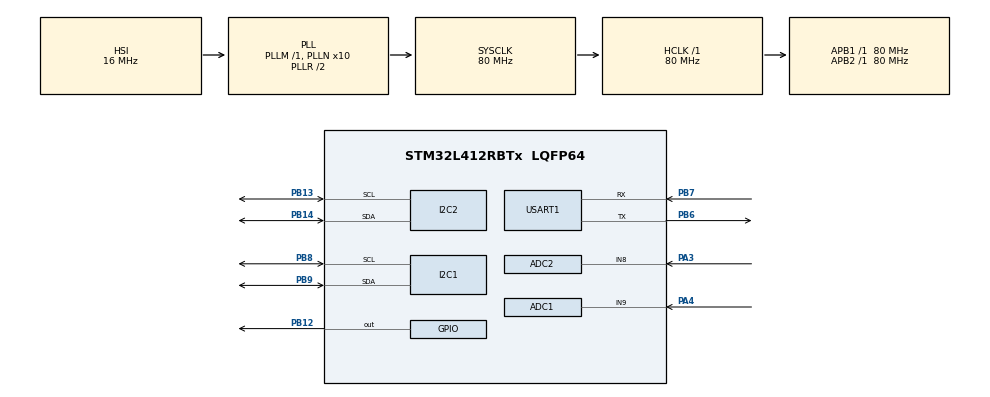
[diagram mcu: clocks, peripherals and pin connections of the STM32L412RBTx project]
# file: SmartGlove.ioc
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ADC1.Channel-1\#ChannelRegularConversion=ADC_CHANNEL_9
ADC1.ContinuousConvMode=ENABLE
ADC1.NbrOfConversionFlag=1
ADC1.OffsetNumber-1\#ChannelRegularConversion=ADC_OFFSET_NONE
ADC1.Overrun=ADC_OVR_DATA_OVERWRITTEN
ADC1.Rank-1\#ChannelRegularConversion=1
ADC1.SamplingTime-1\#ChannelRegularConversion=ADC_SAMPLETIME_2CYCLES_5
ADC1.master=1
ADC2.Channel-0\#ChannelRegularConversion=ADC_CHANNEL_8
ADC2.ContinuousConvMode=ENABLE
ADC2.NbrOfConversionFlag=1
ADC2.OffsetNumber-0\#ChannelRegularConversion=ADC_OFFSET_NONE
ADC2.Overrun=ADC_OVR_DATA_OVERWRITTEN
ADC2.Rank-0\#ChannelRegularConversion=1
ADC2.SamplingTime-0\#ChannelRegularConversion=ADC_SAMPLETIME_6CYCLES_5
Dma.I2C1_RX.0.Direction=DMA_PERIPH_TO_MEMORY
Dma.I2C1_RX.0.Instance=DMA1_Channel7
Dma.I2C1_RX.0.MemDataAlignment=DMA_MDATAALIGN_BYTE
Dma.I2C1_RX.0.MemInc=DMA_MINC_ENABLE
Dma.I2C1_RX.0.Mode=DMA_NORMAL
Dma.I2C1_RX.0.PeriphDataAlignment=DMA_PDATAALIGN_BYTE
Dma.I2C1_RX.0.PeriphInc=DMA_PINC_DISABLE
Dma.I2C1_RX.0.Priority=DMA_PRIORITY_LOW
Dma.I2C1_TX.1.Direction=DMA_MEMORY_TO_PERIPH
Dma.I2C1_TX.1.Instance=DMA1_Channel6
Dma.I2C1_TX.1.MemDataAlignment=DMA_MDATAALIGN_BYTE
Dma.I2C1_TX.1.MemInc=DMA_MINC_ENABLE
Dma.I2C1_TX.1.Mode=DMA_NORMAL
Dma.I2C1_TX.1.PeriphDataAlignment=DMA_PDATAALIGN_BYTE
Dma.I2C1_TX.1.PeriphInc=DMA_PINC_DISABLE
Dma.I2C1_TX.1.Priority=DMA_PRIORITY_LOW
Dma.Request0=I2C1_RX
Dma.Request1=I2C1_TX
I2C1.Timing=0x10909CEC
I2C2.Timing=0x10909CEC
Mcu.Family=STM32L4
Mcu.Name=STM32L412RBTx
Mcu.Package=LQFP64
NVIC.DMA1_Channel6_IRQn=true\:0\:0\:false\:false\:true\:false\:true\:true
NVIC.DMA1_Channel7_IRQn=true\:0\:0\:false\:false\:true\:false\:true\:true
NVIC.PriorityGroup=NVIC_PRIORITYGROUP_4
PA3.Signal=ADCx_IN8
PA4.Signal=ADCx_IN9
PB12.Signal=GPIO_Output
PB13.GPIO_Pu=GPIO_PULLUP
PB13.Mode=I2C
PB13.Signal=I2C2_SCL
PB14.GPIO_Pu=GPIO_PULLUP
PB14.Mode=I2C
PB14.Signal=I2C2_SDA
PB6.Mode=Asynchronous
PB6.Signal=USART1_TX
PB7.Mode=Asynchronous
PB7.Signal=USART1_RX
PB8.Mode=I2C
PB8.Signal=I2C1_SCL
PB9.Mode=I2C
PB9.Signal=I2C1_SDA
ProjectManager.HeapSize=0x200
ProjectManager.StackSize=0x400
ProjectManager.TargetToolchain=MDK-ARM V5.32
RCC.ADCFreq_Value=80000000
RCC.AHBFreq_Value=80000000
RCC.APB1Freq_Value=80000000
RCC.APB1TimFreq_Value=80000000
RCC.APB2Freq_Value=80000000
RCC.APB2TimFreq_Value=80000000
RCC.CortexFreq_Value=80000000
RCC.HCLKFreq_Value=80000000
RCC.HSE_VALUE=8000000
RCC.HSI48_VALUE=48000000
RCC.HSI_VALUE=16000000
RCC.LSE_VALUE=32768
RCC.MSI_VALUE=4000000
RCC.PLLN=10
RCC.PLLSourceVirtual=RCC_PLLSOURCE_HSI
RCC.SYSCLKFreq_VALUE=80000000
RCC.SYSCLKSource=RCC_SYSCLKSOURCE_PLLCLK
RCC.USBFreq_Value=4000000
RCC.VCOOutputFreq_Value=160000000
SH.ADCx_IN8.0=ADC2_IN8,IN8-Single-Ended
SH.ADCx_IN9.0=ADC1_IN9,IN9-Single-Ended
USART1.VirtualMode-Asynchronous=VM_ASYNC
board=custom

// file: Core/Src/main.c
/* USER CODE BEGIN Header */
/**
  ******************************************************************************
  * @file           : main.c
  * @brief          : Main program body
  ******************************************************************************
  * @attention
  *
  * Copyright (c) 2023 STMicroelectronics.
  * All rights reserved.
  *
  * This software is licensed under terms that can be found in the LICENSE file
  * in the root directoLy of this software component.
  * If no LICENSE file comes with this software, it is provided AS-IS.
	*
  * VL6180.h .c by Ryan Chau
	* bno055.h .c by Christine Wan
	* State machine implementation of gesture control by Eric Hsieh
	* Last updated on June 5th 2023
  ******************************************************************************
  */
/* USER CODE END Header */
#include "main.h"
#include "adc.h"
#include "dma.h"
#include "i2c.h"
#include "usart.h"
#include "gpio.h"

/* USER CODE BEGIN Includes */
#include "bno055.h"
#include "string.h"
#include "queue.h"
#include "VL6180X.h"
#include <stdlib.h>

/* printf function */
#include <stdio.h>
//#ifdef __GNUC__
//#define PUTCHAR_PROTOTYPE int __io_putchar(int ch)
//#else
#define PUTCHAR_PROTOTYPE int fputc(int ch, FILE *f)
//#endif

PUTCHAR_PROTOTYPE
{
  HAL_UART_Transmit(&huart1, (uint8_t *)&ch, 1, HAL_MAX_DELAY);
  return ch;
}
/*end of printf function*/
/* USER CODE END Includes */

/* USER CODE BEGIN PD */
// Create an instance of the bno055_dev structure for each IMU
bno055_t imu1;
bno055_t imu2;
error_bno IMU1PASS = BNO_ERR_I2C;
error_bno IMU2PASS = BNO_ERR_I2C;
int VL6180X_ERR = 0;
//f32 volatile gyro1_x, gyro1_y, gyro1_z;
//f32 volatile gyro2_x, gyro2_y, gyro2_z;
f32 euler1_x, euler1_y, euler1_z;
f32 volatile init_euler1_x, init_euler1_y, init_euler1_z;
f32 volatile euler2_x, euler2_y, euler2_z;
f32 volatile init_euler2_x, init_euler2_y, init_euler2_z;
f32 volatile test_x, test_y, test_z;

//f32 volatile a1_x, a1_y, a1_z;
f32 volatile a2_x, a2_y, a2_z;
f32 volatile absx = 0;
f32 volatile absy = 0;
f32 volatile absz = 0;
f32 volatile change_x = 0;
f32 volatile change_y = 0;
f32 volatile change_z = 0;
f32 volatile accleration_mag_buffer = 0; //stoLe the total acceleration

uint16_t volatile readFSR1;
uint16_t volatile readFSR2;

f32 max_change = 0;
int rotate_xyz = 0; // x == 1, y == 2, z == 3

/* FSR related */
#define FSR_threshold 0x0A00
uint8_t FSR1_pressed = 0;
uint8_t FSR2_pressed = 0;
/* STATES */
#define IDLE 0x00
#define WAIT_ZOOM_IN 0x01
#define WAIT_ZOOM_OUT 0x02
// #define WAIT_SHIFT 0x03
#define WAIT_ROTATE 0x04
#define ZOOM_IN_2 0x05
#define ZOOM_IN_4 0x06
#define ZOOM_OUT_2 0x07
#define ZOOM_OUT_4 0x08
#define WAIT_SHIFT_L 0x09
#define WAIT_SHIFT_R 0x0a
#define WAIT_SHIFT_U 0x0b
#define WAIT_SHIFT_D 0x0c
#define WAIT_SHIFT_F 0x0d
#define WAIT_SHIFT_B 0x0e
#define WAIT_SHIFT_L_DONE 0x0f
#define WAIT_SHIFT_R_DONE 0x10
#define WAIT_SHIFT_U_DONE 0x11
#define WAIT_SHIFT_D_DONE 0x12
#define WAIT_SHIFT_F_DONE 0x13
#define WAIT_SHIFT_B_DONE 0x14
#define ROTATE_X 0x2d
#define ROTATE_Y 0x2e
#define ROTATE_Z 0x2f
/* gesture command */
#define CMD_LEFT 0x00
#define CMD_RIGHT 0x01
#define CMD_UP 0x02
#define CMD_DOWN 0x03
#define CMD_FRONT 0x04
#define CMD_BACK 0x05
#define CMD_ROTATE_X 0x06
#define CMD_ROTATE_Y 0x07
#define CMD_ROTATE_Z 0x08
#define CMD_ZOOM 0x09
#define CMD_RESET 0x0a
#define CMD_NONE 0xff
/* gesture data */
#define DATA_SHIFT_SPEED_1 0x01
#define DATA_SHIFT_SPEED_2 0x02
#define DATA_SHIFT_SPEED_3 0x03
#define DATA_ZOOM_IN_2 0x02
#define DATA_ZOOM_IN_4 0x03
#define DATA_ZOOM_OUT_2 0x05
#define DATA_ZOOM_OUT_4 0x06
#define DATA_NO_ZOOM_IN_OUT 0x04
#define DATA_RESET 0x00
#define DATA_NONE 0xff
/* FSR behavior */
#define ROTATE_MODE (FSR1_pressed == 1 && FSR2_pressed == 1)
#define ZOOM_MODE (FSR1_pressed == 0 && FSR2_pressed == 1)
#define SHIFT_MODE (FSR1_pressed == 1 && FSR2_pressed == 0)
/* Shift speed threshold */
#define TH_SPEED_BASE 1
// #define TH_SPEED_1 10
#define TH_SPEED_2 10
#define TH_SPEED_3 15
#define DELAY_IN_DONE 1
#define SHIFT_STABILIZED ((absx<TH_SPEED_BASE)&(absy<TH_SPEED_BASE)&(absz<TH_SPEED_BASE))
// toleranace are in degrees
#define TH_GESTURE_START_TOL 25
#define TH_GESTURE_START_TOL_UD 50
#define TH_GESTURE_START_TOL_L 35
#define TH_GESTURE_START_TOL_L_Y 90
#define TH_GESTURE_START_TOL_R 35
#define TH_GESTURE_START_TOL_R_Y 90
#define TH_GESTURE_START_TOL_R_Z 55
#define TH_GESTURE_START_TOL_FB_Y 50
#define TH_GESTURE_START_TOL_FB_Z 85

#define TH_GESTURE_END_TOL 25
#define TH_GESTURE_END_TOL_UD 90
#define TH_GESTURE_END_TOL_L 35
#define TH_GESTURE_END_TOL_L_Y 90
#define TH_GESTURE_END_TOL_R 35
#define TH_GESTURE_END_TOL_R_Y 90
#define TH_GESTURE_END_TOL_R_Z 55
#define TH_GESTURE_END_TOL_FB_Y 50
#define TH_GESTURE_END_TOL_FB_Z 85

/* Shift gesture definition*/ // should all be a very clean number, in 90 degrees
#define L_1X 0
#define L_1Y -90
#define L_1Z 270
#define L_2X 0
#define L_2Y 90
#define L_2Z 270
#define R_1X 0
#define R_1Y -90
#define R_1Z 90
#define R_2X 0
#define R_2Y 90
#define R_2Z 90
#define U_1X 90
#define U_1Y 0
#define U_1Z 0
#define U_2X -90
#define U_2Y 0
#define U_2Z 0
#define D_1X -90
#define D_1Y 0
#define D_1Z 0
#define D_2X 90
#define D_2Y 0
#define D_2Z 0
#define F_1X 0
#define F_1Y -90
#define F_1Z 0
#define F_2X 0
#define F_2Y 90
#define F_2Z 0
#define B_1X 0
#define B_1Y -90
#define B_1Z 0
#define B_2X 0
#define B_2Y 90
#define B_2Z 270
#define GESTURE_L_STARTING ((L_1X-TH_GESTURE_START_TOL_L<euler1_x)&(euler1_x<L_1X+TH_GESTURE_START_TOL_L)&(L_1Y-TH_GESTURE_START_TOL_L_Y<euler1_y)&(euler1_y<L_1Y+TH_GESTURE_START_TOL_L_Y)&(L_1Z-TH_GESTURE_START_TOL_L<euler1_z)&(euler1_z<L_1Z+TH_GESTURE_START_TOL_L)&(L_2X-TH_GESTURE_START_TOL_L<euler2_x)&(euler2_x<L_2X+TH_GESTURE_START_TOL_L)&(L_2Y-TH_GESTURE_START_TOL_L_Y<euler2_y)&(euler2_y<L_2Y+TH_GESTURE_START_TOL_L_Y)&(L_2Z-TH_GESTURE_START_TOL_L<euler2_z)&(euler2_z<L_2Z+TH_GESTURE_START_TOL_L))
#define GESTURE_R_STARTING ((R_1X-TH_GESTURE_START_TOL_R<euler1_x)&(euler1_x<R_1X+TH_GESTURE_START_TOL_R)&(R_1Y-TH_GESTURE_START_TOL_R_Y<euler1_y)&(euler1_y<R_1Y+TH_GESTURE_START_TOL_R_Y)&(R_1Z-TH_GESTURE_START_TOL_R_Z<euler1_z)&(euler1_z<R_1Z+TH_GESTURE_START_TOL_R_Z)&(R_2X-TH_GESTURE_START_TOL_R<euler2_x)&(euler2_x<R_2X+TH_GESTURE_START_TOL_R)&(R_2Y-TH_GESTURE_START_TOL_R_Y<euler2_y)&(euler2_y<R_2Y+TH_GESTURE_START_TOL_R_Y)&(R_2Z-TH_GESTURE_START_TOL_R_Z<euler2_z)&(euler2_z<R_2Z+TH_GESTURE_START_TOL_R_Z))
#define GESTURE_U_STARTING ((U_1X-TH_GESTURE_START_TOL_UD<euler1_x)&(euler1_x<U_1X+TH_GESTURE_START_TOL_UD)&(U_2X-TH_GESTURE_START_TOL_UD<euler2_x)&(euler2_x<U_2X+TH_GESTURE_START_TOL_UD))
#define GESTURE_D_STARTING ((D_1X-TH_GESTURE_START_TOL_UD<euler1_x)&(euler1_x<D_1X+TH_GESTURE_START_TOL_UD)&(D_2X-TH_GESTURE_START_TOL_UD<euler2_x)&(euler2_x<D_2X+TH_GESTURE_START_TOL_UD))
#define GESTURE_F_STARTING ((F_1X-TH_GESTURE_START_TOL<euler1_x)&(euler1_x<F_1X+TH_GESTURE_START_TOL)&(F_1Y-TH_GESTURE_START_TOL<euler1_y)&(euler1_y<F_1Y+TH_GESTURE_START_TOL)&((euler1_z < TH_GESTURE_START_TOL)||(euler1_z > 360-TH_GESTURE_START_TOL))&(F_2X-TH_GESTURE_START_TOL<euler2_x)&(euler2_x<F_2X+TH_GESTURE_START_TOL)&(F_2Y-TH_GESTURE_START_TOL<euler2_y)&(euler2_y<F_2Y+TH_GESTURE_START_TOL)&((euler2_z < TH_GESTURE_START_TOL)||(euler2_z > 360-TH_GESTURE_START_TOL)))
#define GESTURE_B_STARTING ((B_1X-TH_GESTURE_START_TOL<euler1_x)&(euler1_x<B_1X+TH_GESTURE_START_TOL)&(B_1Y-TH_GESTURE_START_TOL<euler1_y)&(euler1_y<B_1Y+TH_GESTURE_START_TOL)&((euler1_z < TH_GESTURE_START_TOL)||(euler1_z > 360-TH_GESTURE_START_TOL))&(B_2X-TH_GESTURE_START_TOL<euler2_x)&(euler2_x<B_2X+TH_GESTURE_START_TOL)&(B_2Y-TH_GESTURE_START_TOL_FB_Y<euler2_y)&(euler2_y<B_2Y+TH_GESTURE_START_TOL_FB_Y)&(B_2Z-TH_GESTURE_START_TOL_FB_Z<euler2_z)&(euler2_z<B_2Z+TH_GESTURE_START_TOL))

#define GESTURE_L_ENDING ((L_1X-TH_GESTURE_END_TOL_L<euler1_x)&(euler1_x<L_1X+TH_GESTURE_END_TOL_L)&(L_1Y-TH_GESTURE_END_TOL_L_Y<euler1_y)&(euler1_y<L_1Y+TH_GESTURE_END_TOL_L_Y)&(L_1Z-TH_GESTURE_END_TOL_L<euler1_z)&(euler1_z<L_1Z+TH_GESTURE_END_TOL_L)&(L_2X-TH_GESTURE_END_TOL_L<euler2_x)&(euler2_x<L_2X+TH_GESTURE_END_TOL_L)&(L_2Y-TH_GESTURE_END_TOL_L_Y<euler2_y)&(euler2_y<L_2Y+TH_GESTURE_END_TOL_L_Y)&(L_2Z-TH_GESTURE_END_TOL_L<euler2_z)&(euler2_z<L_2Z+TH_GESTURE_END_TOL_L))
#define GESTURE_R_ENDING ((R_1X-TH_GESTURE_END_TOL_R<euler1_x)&(euler1_x<R_1X+TH_GESTURE_END_TOL_R)&(R_1Y-TH_GESTURE_END_TOL_R_Y<euler1_y)&(euler1_y<R_1Y+TH_GESTURE_END_TOL_R_Y)&(R_1Z-TH_GESTURE_END_TOL_R_Z<euler1_z)&(euler1_z<R_1Z+TH_GESTURE_END_TOL_R_Z)&(R_2X-TH_GESTURE_END_TOL_R<euler2_x)&(euler2_x<R_2X+TH_GESTURE_END_TOL_R)&(R_2Y-TH_GESTURE_END_TOL_R_Y<euler2_y)&(euler2_y<R_2Y+TH_GESTURE_END_TOL_R_Y)&(R_2Z-TH_GESTURE_END_TOL_R_Z<euler2_z)&(euler2_z<R_2Z+TH_GESTURE_END_TOL_R_Z))
#define GESTURE_U_ENDING ((U_1X-TH_GESTURE_END_TOL_UD<euler1_x)&(euler1_x<U_1X+TH_GESTURE_END_TOL_UD)&(U_2X-TH_GESTURE_END_TOL_UD<euler2_x)&(euler2_x<U_2X+TH_GESTURE_END_TOL_UD))
#define GESTURE_D_ENDING ((D_1X-TH_GESTURE_END_TOL_UD<euler1_x)&(euler1_x<D_1X+TH_GESTURE_END_TOL_UD)&(D_2X-TH_GESTURE_END_TOL_UD<euler2_x)&(euler2_x<D_2X+TH_GESTURE_END_TOL_UD))
#define GESTURE_F_ENDING ((F_1X-TH_GESTURE_END_TOL<euler1_x)&(euler1_x<F_1X+TH_GESTURE_END_TOL)&(F_1Y-TH_GESTURE_END_TOL<euler1_y)&(euler1_y<F_1Y+TH_GESTURE_END_TOL)&((euler1_z < TH_GESTURE_END_TOL)||(euler1_z > 360-TH_GESTURE_END_TOL))&(F_2X-TH_GESTURE_END_TOL<euler2_x)&(euler2_x<F_2X+TH_GESTURE_END_TOL)&(F_2Y-TH_GESTURE_END_TOL<euler2_y)&(euler2_y<F_2Y+TH_GESTURE_END_TOL)&((euler2_z < TH_GESTURE_END_TOL)||(euler2_z > 360-TH_GESTURE_END_TOL)))
#define GESTURE_B_ENDING ((B_1X-TH_GESTURE_END_TOL<euler1_x)&(euler1_x<B_1X+TH_GESTURE_END_TOL)&(B_1Y-TH_GESTURE_END_TOL<euler1_y)&(euler1_y<B_1Y+TH_GESTURE_END_TOL)&((euler1_z < TH_GESTURE_END_TOL)||(euler1_z > 360-TH_GESTURE_END_TOL))&(B_2X-TH_GESTURE_END_TOL<euler2_x)&(euler2_x<B_2X+TH_GESTURE_END_TOL)&(B_2Y-TH_GESTURE_END_TOL_FB_Y<euler2_y)&(euler2_y<B_2Y+TH_GESTURE_END_TOL_FB_Y)&(B_2Z-TH_GESTURE_END_TOL_FB_Z<euler2_z)&(euler2_z<B_2Z+TH_GESTURE_END_TOL))

/* Rotate calibration */
#define X_SIGN_CALIBRATE 1
#define Y_SIGN_CALIBRATE 1
#define Z_SIGN_CALIBRATE -1
/* prevent BT overflow */
#define DELAY_AFTER_SEND 1000
/* Reset gesture */ // reset if total acceleration > TH_RESET
#define DECAY_FACTOR 0.8
#define TH_RESET 50

/* USER CODE END PD */

/* USER CODE BEGIN PV */
int volatile range = 0;
int volatile STATE = 0;
uint8_t sendBuffer[2];
HAL_StatusTypeDef ret;

int volatile BOOT_UP = 1;

/* USER CODE END PV */

void SystemClock_Config(void);

int main(void)
{

  /* MCU Configuration--------------------------------------------------------*/

  /* Reset of all peripherals, Initializes the Flash interface and the Systick. */
  HAL_Init();

  /* Configure the system clock */
  SystemClock_Config();

  /* Initialize all configured peripherals */
  MX_GPIO_Init();
  MX_DMA_Init();
  MX_I2C1_Init();
  MX_USART1_UART_Init();
  MX_I2C2_Init();
  MX_ADC1_Init();
  MX_ADC2_Init();
  /* USER CODE BEGIN 2 */

	HAL_ADC_Start(&hadc1);
	HAL_Delay(10);
	HAL_ADC_Start(&hadc2);
	WriteByte(0x010, 0x01); // SET GPIO0 to 1
	HAL_Delay(10); 		  // Device BOOT Up, wait for 10ms
	VL6180X_ERR = VL6180X_Init();
	VL6180X_ERR = VL6180X_Start_Range();  // start single range measurement
	//Rotation detection IMU 0x29
	imu1 = (bno055_t){.i2c = &hi2c1, .addr = BNO_ADDR, .mode = BNO_MODE_IMU, ._temp_unit = 0};
	//Shifting detection IMU 0x28
	imu2 = (bno055_t){.i2c = &hi2c1, .addr = BNO_ADDR_ALT, .mode = BNO_MODE_IMU, ._temp_unit = 0};
	// Initialize the sensor
	IMU1PASS = bno055_init(&imu1);
	IMU2PASS = bno055_init(&imu2);

	//bno055_vec3_t gyroscope1;
	bno055_euler_t euler1;
	//bno055_vec3_t accelerometer1;
	//bno055_vec3_t gyroscope2;
	bno055_euler_t euler2;
	bno055_vec3_t accelerometer2;
	imu1.euler(&imu1, &euler1);
	init_euler1_x = euler1.roll;
	init_euler1_y = euler1.pitch;
	init_euler1_z = euler1.yaw;
	imu2.euler(&imu2, &euler2);
	init_euler2_x = euler2.roll;
	init_euler2_y = euler2.pitch;
	init_euler2_z = euler2.yaw;

	uint8_t gesture;
	uint8_t gestureData;
	uint8_t prevGesture;
	uint8_t prevGestureData;

	uint8_t rotationDataInt;

	/* Function prototype */
	// function that will send out the gesture | data
	void send2App(uint8_t gesture, uint8_t data, uint8_t* buffer);

	void flash(void);
	/* END OF Function prototype*/

	// INITIALIZATION symbol
	send2App(0xab, 0xcd, sendBuffer);
	if(BOOT_UP == 1){
		for(int i = 0; i < 10; i++){
			flash();
			HAL_Delay(50);
		}
		BOOT_UP = 0;
	}else{
	}

  /* USER CODE END 2 */

  /* Infinite loop */
  /* USER CODE BEGIN WHILE */
	while (1){

		/* BEGIN OF Update all */
		// button 1
		if (HAL_ADC_PollForConversion(&hadc1, 1000000) == HAL_OK){
			readFSR1 = HAL_ADC_GetValue(&hadc1);
			/* check threshold */
			if(readFSR1 < FSR_threshold){
				FSR1_pressed = 1;
			}else{
				FSR1_pressed = 0;
			}
		}
		// button 2
		if (HAL_ADC_PollForConversion(&hadc2, 1000000) == HAL_OK){
			readFSR2 = HAL_ADC_GetValue(&hadc2);
			/* check threshold */
			if(readFSR2 < FSR_threshold){
				FSR2_pressed = 1;
			}else{
				FSR2_pressed = 0;
			}
		}
		// IMU1
		IMU1PASS = imu1.euler(&imu1, &euler1);
		euler1_x = euler1.roll;
		euler1_y = euler1.pitch;
		euler1_z = euler1.yaw;
		change_x = (euler1_x - init_euler1_x);
		change_y = (euler1_y - init_euler1_y);
		change_z = (euler1_z - init_euler1_z);
		rotate_xyz = 0;
		// IMU2
		IMU2PASS = imu2.euler(&imu2, &euler2);
		euler2_x = euler2.roll;
		euler2_y = euler2.pitch;
		euler2_z = euler2.yaw;
		IMU2PASS = imu2.linear_acc(&imu2,&accelerometer2);
		a2_x = accelerometer2.x;
		a2_y = accelerometer2.y;
		a2_z = accelerometer2.z;
		absx = abs((int)a2_x);
		absy = abs((int)a2_y);
		absz = abs((int)a2_z);
		// VL6180X
		VL6180X_ERR = VL6180X_Poll_Range();
		if(VL6180X_ERR){
			VL6180X_ERR = VL6180X_Init();
			VL6180X_ERR = VL6180X_Start_Range();
		}
		range = VL6180X_Read_Range(); // read range result
		VL6180X_Clear_Interrupts(); // clear the interrupt on VL6180X
		// Utility update
		accleration_mag_buffer = DECAY_FACTOR*accleration_mag_buffer + absx + absy + absz;
		/* END OF Update all */

		/* BEGIN OF next state*/
		switch(STATE){
			case IDLE:
				if(ROTATE_MODE){
					STATE = WAIT_ROTATE;
					init_euler1_x = euler1_x;
					init_euler1_y = euler1_y;
					init_euler1_z = euler1_z;
				}else if(ZOOM_MODE){
					if (range < 40) {
						STATE = WAIT_ZOOM_IN;
					} else if (range > 100) {
						STATE = WAIT_ZOOM_OUT;
					}
				}else if(SHIFT_MODE){
					if(GESTURE_L_STARTING){
						STATE = WAIT_SHIFT_L;
						accleration_mag_buffer = 0;
					}else if(GESTURE_R_STARTING){
						STATE = WAIT_SHIFT_R;
						accleration_mag_buffer = 0;
					}else if(GESTURE_U_STARTING){
						STATE = WAIT_SHIFT_U;
						accleration_mag_buffer = 0;
					}else if(GESTURE_D_STARTING){
						STATE = WAIT_SHIFT_D;
						accleration_mag_buffer = 0;
					}else if(GESTURE_F_STARTING){
						STATE = WAIT_SHIFT_F;
						accleration_mag_buffer = 0;
					}else if(GESTURE_B_STARTING){
						STATE = WAIT_SHIFT_B;
						accleration_mag_buffer = 0;
					}
				}
				break;
			case WAIT_ZOOM_IN :
				if (ZOOM_MODE){
					if (range > 40) {
						STATE = ZOOM_IN_2;
					} else {
						STATE = WAIT_ZOOM_IN;
					}
				}else{
					STATE = IDLE;
				}
				break;
			case WAIT_ZOOM_OUT :
				if (ZOOM_MODE){
					if (range < 80 && range > 40) {
						STATE = ZOOM_OUT_2;
					} else {
						STATE = WAIT_ZOOM_OUT;
					}
				}else{
					STATE = IDLE;
				}
				break;
			case WAIT_ROTATE :
				if (ROTATE_MODE){
					// figure out the maximum change
					if((abs((int)change_x)>abs((int)change_y))&& (abs((int)change_x) > abs((int)change_z))){
						max_change = abs((int)change_x);
						rotate_xyz = 1;
					}else if((abs((int)change_y)>abs((int)change_z))&& (abs((int)change_y) > abs((int)change_x))){
						max_change = abs((int)change_y);
						rotate_xyz = 2;
					}else{
						max_change = abs((int)change_z);
						rotate_xyz = 3;
					}
					// choose x y or z to rotate
					if(max_change > 10){
						switch(rotate_xyz){
							case 1:
								STATE = ROTATE_X;
								break;
							case 2:
								STATE = ROTATE_Y;
								break;
							case 3:
								STATE = ROTATE_Z;
								break;
						}
					}else{ //not enough change
						STATE = WAIT_ROTATE;
					}
				}else{
					STATE = IDLE;
				}
				break;
			case ZOOM_IN_2 :
				if (ZOOM_MODE){
					if (range > 80) {
						STATE = ZOOM_IN_4;
					} else if (range < 40) {
						STATE = WAIT_ZOOM_IN;
					} else {
						STATE = ZOOM_IN_2;
					}
				}else{
					STATE = IDLE;
				}
				break;
			case ZOOM_IN_4 :
				if (ZOOM_MODE){
					if (range < 80) {
						STATE = ZOOM_IN_2;
					} else {
						STATE = ZOOM_IN_4;
					}
				}else{
					STATE = IDLE;
				}
				break;
			case ZOOM_OUT_2 :
				if (ZOOM_MODE){
					if (range < 40) {
						STATE = ZOOM_OUT_4;
					} else if (range > 100) {
						STATE = WAIT_ZOOM_OUT;
					} else {
						STATE = ZOOM_OUT_2;
					}
				}else{
					STATE = IDLE;
				}
				break;
			case ZOOM_OUT_4 :
				if (ZOOM_MODE){
					if (range > 40) {
						STATE = ZOOM_OUT_2;
					} else {
						STATE = ZOOM_OUT_4;
					}
				}else{
					STATE = IDLE;
				}
				break;
			case ROTATE_X :
				if (ROTATE_MODE){
					STATE = WAIT_ROTATE;
				}else{
					STATE = IDLE;
				}
				break;
			case ROTATE_Y :
				if (ROTATE_MODE){
					STATE = WAIT_ROTATE;
				}else{
					STATE = IDLE;
				}
				break;
			case ROTATE_Z :
				if (ROTATE_MODE){
					STATE = WAIT_ROTATE;
				}else{
					STATE = IDLE;
				}
				break;
			case WAIT_SHIFT_L:
				if (SHIFT_MODE){
					if(GESTURE_R_ENDING){
						STATE = WAIT_SHIFT_R_DONE;
					}else{
						STATE = STATE;
					}
				}else{
					STATE = IDLE;
				}
				break;
			case WAIT_SHIFT_R:
				if (SHIFT_MODE){
					if(GESTURE_L_ENDING){
						STATE = WAIT_SHIFT_L_DONE;
					}else{
						STATE = STATE;
					}
				}else{
					STATE = IDLE;
				}
				break;
			case WAIT_SHIFT_U:
				if (SHIFT_MODE){
					if(GESTURE_D_ENDING){
						STATE = WAIT_SHIFT_D_DONE;
					}else{
						STATE = STATE;
					}
				}else{
					STATE = IDLE;
				}
				break;
			case WAIT_SHIFT_D:
				if (SHIFT_MODE){
					if(GESTURE_U_ENDING){
						STATE = WAIT_SHIFT_U_DONE;
					}else{
						STATE = STATE;
					}
				}else{
					STATE = IDLE;
				}
				break;
			case WAIT_SHIFT_F:
				if (SHIFT_MODE){
					if(GESTURE_B_ENDING){
						STATE = WAIT_SHIFT_B_DONE;
					}else{
						STATE = STATE;
					}
				}else{
					STATE = IDLE;
				}
				break;
			case WAIT_SHIFT_B:
				if (SHIFT_MODE){
					if(GESTURE_F_ENDING){
						STATE = WAIT_SHIFT_F_DONE;
					}else{
						STATE = STATE;
					}
				}else{
					STATE = IDLE;
				}
				break;
			case WAIT_SHIFT_L_DONE:
				STATE = IDLE;
				break;
			case WAIT_SHIFT_R_DONE:
				STATE = IDLE;
				break;
			case WAIT_SHIFT_U_DONE:
				STATE = IDLE;
				break;
			case WAIT_SHIFT_D_DONE:
				STATE = IDLE;
				break;
			case WAIT_SHIFT_F_DONE:
				STATE = IDLE;
				break;
			case WAIT_SHIFT_B_DONE:
				STATE = IDLE;
				break;

		}
		/* END OF next state*/

		/* BEGIN OF state behavior*/
		switch(STATE){
			case IDLE :
				GPIOB->ODR &= ~(1 << 12); //LED off
				if (accleration_mag_buffer > TH_RESET){
					gesture = CMD_RESET;
					gestureData = DATA_RESET;
					accleration_mag_buffer = 0;
				}else {
					gesture = CMD_NONE;
					gestureData = DATA_NONE;
				}
				break;
			case WAIT_ZOOM_IN :
				GPIOB->ODR |= (1 << 12); // LED ON
				gesture = CMD_ZOOM;
				gestureData = DATA_NO_ZOOM_IN_OUT;
				break;
			case WAIT_ZOOM_OUT :
				GPIOB->ODR |= (1 << 12); // LED ON
				gesture = CMD_ZOOM;
				gestureData = DATA_NO_ZOOM_IN_OUT;
				break;
			case WAIT_ROTATE :
				GPIOB->ODR |= (1 << 12); // LED ON
				gesture = CMD_NONE;
				gestureData = DATA_NONE;
				break;
			case ZOOM_IN_2 :
				gesture = CMD_ZOOM;
				gestureData = DATA_ZOOM_IN_2;
				break;
			case ZOOM_IN_4 :
				gesture = CMD_ZOOM;
				gestureData = DATA_ZOOM_IN_4;
				break;
			case ZOOM_OUT_2 :
				gesture = CMD_ZOOM;
				gestureData = DATA_ZOOM_OUT_2;
				break;
			case ZOOM_OUT_4 :
				gesture = CMD_ZOOM;
				gestureData = DATA_ZOOM_OUT_4;
				break;
			case ROTATE_X :
				gesture = CMD_ROTATE_X;
				if(change_x > 0){
					rotationDataInt = change_x/10;
					init_euler1_x = init_euler1_x + rotationDataInt*10;
				}else{
					rotationDataInt = change_x/10 + 37; // 37 so it doesn't overturn
					init_euler1_x = init_euler1_x + rotationDataInt*10 -360;
				}
				if(change_x*X_SIGN_CALIBRATE > 0){
					gestureData = change_x/10;
				}else{
					gestureData = change_x/10 + 37;
				}
				break;
			case ROTATE_Y :
				gesture = CMD_ROTATE_Y;
				if(change_y > 0){
					rotationDataInt = change_y/10;
					init_euler1_y = init_euler1_y + rotationDataInt*10;
				}else{
					rotationDataInt = change_y/10 + 37;
					init_euler1_y = init_euler1_y + rotationDataInt*10 -360;
				}
				if(change_y*Y_SIGN_CALIBRATE > 0){
					gestureData = change_y/10;
				}else{
					gestureData = change_y/10 + 37;
				}
				break;
			case ROTATE_Z :
				gesture = CMD_ROTATE_Z;
				if(change_z > 0){
					rotationDataInt = change_z/10;
					init_euler1_z = init_euler1_z + rotationDataInt*10;
				}else{
					rotationDataInt = change_z/10 + 37;
					init_euler1_z = init_euler1_z + rotationDataInt*10 -360;
				}
				if(change_z*Z_SIGN_CALIBRATE > 0){
					gestureData = change_z/10;
				}else{
					gestureData = change_z/10 + 37;
				}
				break;
			case WAIT_SHIFT_L:
				flash();
				gesture = CMD_NONE;
				gestureData = DATA_NONE;
				break;
			case WAIT_SHIFT_R:
				flash();
				gesture = CMD_NONE;
				gestureData = DATA_NONE;
				break;
			case WAIT_SHIFT_U:
				flash();
				gesture = CMD_NONE;
				gestureData = DATA_NONE;
				break;
			case WAIT_SHIFT_D:
				flash();
				gesture = CMD_NONE;
				gestureData = DATA_NONE;
				break;
			case WAIT_SHIFT_F:
				flash();
				gesture = CMD_NONE;
				gestureData = DATA_NONE;
				break;
			case WAIT_SHIFT_B:
				flash();
				gesture = CMD_NONE;
				gestureData = DATA_NONE;
				break;
			case WAIT_SHIFT_L_DONE:
				GPIOB->ODR &= ~(1 << 12); //LED off
				gesture = CMD_LEFT;
				if(accleration_mag_buffer > TH_SPEED_3){
					gestureData = DATA_SHIFT_SPEED_3;
				}else if(accleration_mag_buffer > TH_SPEED_2){
					gestureData = DATA_SHIFT_SPEED_2;
				}else if(accleration_mag_buffer > 0){
					gestureData = DATA_SHIFT_SPEED_1;
				}
				accleration_mag_buffer = 0;
				break;
			case WAIT_SHIFT_R_DONE:
				GPIOB->ODR &= ~(1 << 12); //LED off
				gesture = CMD_RIGHT;
				if(accleration_mag_buffer > TH_SPEED_3){
					gestureData = DATA_SHIFT_SPEED_3;
				}else if(accleration_mag_buffer > TH_SPEED_2){
					gestureData = DATA_SHIFT_SPEED_2;
				}else if(accleration_mag_buffer > 0){
					gestureData = DATA_SHIFT_SPEED_1;
				}
				accleration_mag_buffer = 0;
				break;
			case WAIT_SHIFT_U_DONE:
				GPIOB->ODR &= ~(1 << 12); //LED off
				gesture = CMD_UP;
				if(accleration_mag_buffer > TH_SPEED_3){
					gestureData = DATA_SHIFT_SPEED_3;
				}else if(accleration_mag_buffer > TH_SPEED_2){
					gestureData = DATA_SHIFT_SPEED_2;
				}else if(accleration_mag_buffer > 0){
					gestureData = DATA_SHIFT_SPEED_1;
				}
				accleration_mag_buffer = 0;
				break;
			case WAIT_SHIFT_D_DONE:
				GPIOB->ODR &= ~(1 << 12); //LED off
				gesture = CMD_DOWN;
				if(accleration_mag_buffer > TH_SPEED_3){
					gestureData = DATA_SHIFT_SPEED_3;
				}else if(accleration_mag_buffer > TH_SPEED_2){
					gestureData = DATA_SHIFT_SPEED_2;
				}else if(accleration_mag_buffer > 0){
					gestureData = DATA_SHIFT_SPEED_1;
				}
				accleration_mag_buffer = 0;
				break;
			case WAIT_SHIFT_F_DONE:
				GPIOB->ODR &= ~(1 << 12); //LED off
				gesture = CMD_FRONT;
				if(accleration_mag_buffer > TH_SPEED_3){
					gestureData = DATA_SHIFT_SPEED_3;
				}else if(accleration_mag_buffer > TH_SPEED_2){
					gestureData = DATA_SHIFT_SPEED_2;
				}else if(accleration_mag_buffer > 0){
					gestureData = DATA_SHIFT_SPEED_1;
				}
				accleration_mag_buffer = 0;
				break;
			case WAIT_SHIFT_B_DONE:
				GPIOB->ODR &= ~(1 << 12); //LED off
				gesture = CMD_BACK;
				if(accleration_mag_buffer > TH_SPEED_3){
					gestureData = DATA_SHIFT_SPEED_3;
				}else if(accleration_mag_buffer > TH_SPEED_2){
					gestureData = DATA_SHIFT_SPEED_2;
				}else if(accleration_mag_buffer > 0){
					gestureData = DATA_SHIFT_SPEED_1;
				}
				accleration_mag_buffer = 0;
				break;
		}
		/* END OF state behavior*/

		/* BEGIN OF bluetooth output */
		if ( (prevGesture != gesture) || (prevGestureData != gestureData)){
			if (gesture != CMD_NONE){
				send2App(gesture, gestureData, sendBuffer);
				HAL_Delay(DELAY_AFTER_SEND);
			}
		}
		/* END OF bluetooth output*/

		/* BEGIN OF state update*/
		prevGesture = gesture;
		prevGestureData = gestureData;
		/* END OF state update*/

		//HAL_Delay(1000);

    /* USER CODE END WHILE */

  }
}

void SystemClock_Config(void)
{
  RCC_OscInitTypeDef RCC_OscInitStruct = {0};
  RCC_ClkInitTypeDef RCC_ClkInitStruct = {0};

  /** Configure the main internal regulator output voltage
  */
  if (HAL_PWREx_ControlVoltageScaling(PWR_REGULATOR_VOLTAGE_SCALE1) != HAL_OK)
  {
    Error_Handler();
  }

  /** Initializes the RCC Oscillators according to the specified parameters
  * in the RCC_OscInitTypeDef structure.
  */
  RCC_OscInitStruct.OscillatorType = RCC_OSCILLATORTYPE_HSI;
  RCC_OscInitStruct.HSIState = RCC_HSI_ON;
  RCC_OscInitStruct.HSICalibrationValue = RCC_HSICALIBRATION_DEFAULT;
  RCC_OscInitStruct.PLL.PLLState = RCC_PLL_ON;
  RCC_OscInitStruct.PLL.PLLSource = RCC_PLLSOURCE_HSI;
  RCC_OscInitStruct.PLL.PLLM = 1;
  RCC_OscInitStruct.PLL.PLLN = 10;
  RCC_OscInitStruct.PLL.PLLQ = RCC_PLLQ_DIV2;
  RCC_OscInitStruct.PLL.PLLR = RCC_PLLR_DIV2;
  if (HAL_RCC_OscConfig(&RCC_OscInitStruct) != HAL_OK)
  {
    Error_Handler();
  }

  /** Initializes the CPU, AHB and APB buses clocks
  */
  RCC_ClkInitStruct.ClockType = RCC_CLOCKTYPE_HCLK|RCC_CLOCKTYPE_SYSCLK
                              |RCC_CLOCKTYPE_PCLK1|RCC_CLOCKTYPE_PCLK2;
  RCC_ClkInitStruct.SYSCLKSource = RCC_SYSCLKSOURCE_PLLCLK;
  RCC_ClkInitStruct.AHBCLKDivider = RCC_SYSCLK_DIV1;
  RCC_ClkInitStruct.APB1CLKDivider = RCC_HCLK_DIV1;
  RCC_ClkInitStruct.APB2CLKDivider = RCC_HCLK_DIV1;

  if (HAL_RCC_ClockConfig(&RCC_ClkInitStruct, FLASH_LATENCY_4) != HAL_OK)
  {
    Error_Handler();
  }
}

/* USER CODE BEGIN 4 */
void send2App(uint8_t gesture, uint8_t data, uint8_t* buffer){
	//uint16_t result = (data<<8)|(gesture);
	buffer[0] = gesture;
	buffer[1] = data;
	HAL_UART_Transmit(&huart1, buffer, 2,100);
	//printf("%x,",gesture);
	//printf("%x\n",data);
}

void flash(void){
	GPIOB->ODR ^= (1 << 12);
}

/* USER CODE END 4 */

void Error_Handler(void)
{
  __disable_irq();
  while (1)
  {
  }
}
